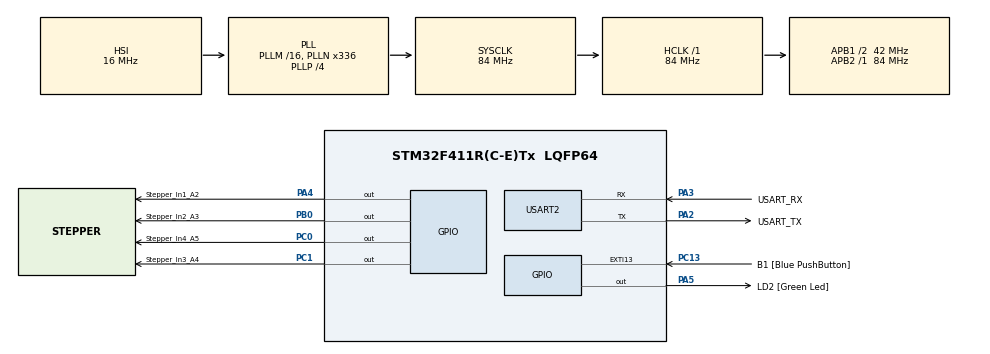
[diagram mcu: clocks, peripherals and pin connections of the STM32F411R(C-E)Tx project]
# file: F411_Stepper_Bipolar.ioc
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Mcu.Family=STM32F4
Mcu.Name=STM32F411R(C-E)Tx
Mcu.Package=LQFP64
NVIC.PriorityGroup=NVIC_PRIORITYGROUP_0
PA13.GPIO_Label=TMS
PA13.Mode=Serial_Wire
PA13.Signal=SYS_JTMS-SWDIO
PA14.GPIO_Label=TCK
PA14.Mode=Serial_Wire
PA14.Signal=SYS_JTCK-SWCLK
PA2.GPIO_Label=USART_TX
PA2.Mode=Asynchronous
PA2.Signal=USART2_TX
PA3.GPIO_Label=USART_RX
PA3.Mode=Asynchronous
PA3.Signal=USART2_RX
PA4.GPIO_Label=Stepper_In1_A2
PA4.Signal=GPIO_Output
PA5.GPIO_Label=LD2 [Green Led]
PA5.Signal=GPIO_Output
PB0.GPIO_Label=Stepper_In2_A3
PB0.Signal=GPIO_Output
PB3.GPIO_Label=SWO
PB3.Signal=SYS_JTDO-SWO
PC0.GPIO_Label=Stepper_In4_A5
PC0.Signal=GPIO_Output
PC1.GPIO_Label=Stepper_In3_A4
PC1.Signal=GPIO_Output
PC13-ANTI_TAMP.GPIO_Label=B1 [Blue PushButton]
PC13-ANTI_TAMP.GPIO_ModeDefaultEXTI=GPIO_MODE_IT_FALLING
PC13-ANTI_TAMP.Signal=GPXTI13
PC14-OSC32_IN.Mode=LSE-External-Oscillator
PC14-OSC32_IN.Signal=RCC_OSC32_IN
PC15-OSC32_OUT.Mode=LSE-External-Oscillator
PC15-OSC32_OUT.Signal=RCC_OSC32_OUT
PH0\ -\ OSC_IN.Mode=HSE-External-Clock-Source
PH0\ -\ OSC_IN.Signal=RCC_OSC_IN
PH1\ -\ OSC_OUT.Mode=HSE-External-Clock-Source
PH1\ -\ OSC_OUT.Signal=RCC_OSC_OUT
ProjectManager.HeapSize=0x200
ProjectManager.StackSize=0x400
ProjectManager.TargetToolchain=STM32CubeIDE
RCC.48MHZClocksFreq_Value=84000000
RCC.AHBFreq_Value=84000000
RCC.APB1CLKDivider=RCC_HCLK_DIV2
RCC.APB1Freq_Value=42000000
RCC.APB1TimFreq_Value=84000000
RCC.APB2Freq_Value=84000000
RCC.APB2TimFreq_Value=84000000
RCC.CortexFreq_Value=84000000
RCC.FLatency-AdvancedSettings=FLASH_LATENCY_2
RCC.HCLKFreq_Value=84000000
RCC.HSE_VALUE=8000000
RCC.HSI_VALUE=16000000
RCC.PLLN=336
RCC.PLLP=RCC_PLLP_DIV4
RCC.SYSCLKFreq_VALUE=84000000
RCC.SYSCLKSource=RCC_SYSCLKSOURCE_PLLCLK
RCC.VCOOutputFreq_Value=336000000
USART2.VirtualMode=VM_ASYNC
board=NUCLEO-F411RE

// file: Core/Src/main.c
/* USER CODE BEGIN Header */
/**
 ******************************************************************************
 * @file           : main.c
 * @brief          : Main program body
 ******************************************************************************
 * @attention
 *
 * Copyright (c) 2023 STMicroelectronics.
 * All rights reserved.
 *
 * This software is licensed under terms that can be found in the LICENSE file
 * in the root directory of this software component.
 * If no LICENSE file comes with this software, it is provided AS-IS.
 *
 ******************************************************************************
 */
/* USER CODE END Header */
#include "main.h"
#include "usart.h"
#include "gpio.h"

/* USER CODE BEGIN Includes */
//#include "Stepper.h"
#include <DRV8833_Stepper.h>
/* USER CODE END Includes */

/* USER CODE BEGIN PD */
// Change this to the number of steps on your motor
#define STEPS 200
/* USER CODE END PD */

/* USER CODE BEGIN PV */
// Create an instance of the StepperMotor struct and specify the pins it's attached to
StepperMotor stepper;
/* USER CODE END PV */

void SystemClock_Config(void);

int main(void)
{

  /* MCU Configuration--------------------------------------------------------*/

  /* Reset of all peripherals, Initializes the Flash interface and the Systick. */
  HAL_Init();

  /* Configure the system clock */
  SystemClock_Config();

  /* Initialize all configured peripherals */
  MX_GPIO_Init();
  MX_USART2_UART_Init();
  /* USER CODE BEGIN 2 */

	// Initialisation du moteur pas à pas
	StepperMotor motor;
	Stepper_Init(&motor);

	// Effectuer quelques rotations

	uint16_t stepsPerRotation_fullstep = 1024;  // Exemple, veuillez ajuster en fonction de votre moteur
	uint16_t stepsPerRotation_halfstep = stepsPerRotation_fullstep * 2;

  /* USER CODE END 2 */

  /* Infinite loop */
  /* USER CODE BEGIN WHILE */
	while (1)
	{
		Stepper_StepCW_Steps(&motor, stepsPerRotation_fullstep, 4);
		HAL_Delay(500);
		Stepper_StepCW_Half_Steps(&motor, stepsPerRotation_halfstep, 4);
		HAL_Delay(500);
		Stepper_StepCCW_Steps(&motor, stepsPerRotation_fullstep, 4);
		HAL_Delay(500);
		Stepper_StepCCW_Half_Steps(&motor, stepsPerRotation_halfstep, 4);
		HAL_Delay(500);

    /* USER CODE END WHILE */

	}
}

void SystemClock_Config(void)
{
  RCC_OscInitTypeDef RCC_OscInitStruct = {0};
  RCC_ClkInitTypeDef RCC_ClkInitStruct = {0};

  /** Configure the main internal regulator output voltage
  */
  __HAL_RCC_PWR_CLK_ENABLE();
  __HAL_PWR_VOLTAGESCALING_CONFIG(PWR_REGULATOR_VOLTAGE_SCALE1);

  /** Initializes the RCC Oscillators according to the specified parameters
  * in the RCC_OscInitTypeDef structure.
  */
  RCC_OscInitStruct.OscillatorType = RCC_OSCILLATORTYPE_HSI;
  RCC_OscInitStruct.HSIState = RCC_HSI_ON;
  RCC_OscInitStruct.HSICalibrationValue = RCC_HSICALIBRATION_DEFAULT;
  RCC_OscInitStruct.PLL.PLLState = RCC_PLL_ON;
  RCC_OscInitStruct.PLL.PLLSource = RCC_PLLSOURCE_HSI;
  RCC_OscInitStruct.PLL.PLLM = 16;
  RCC_OscInitStruct.PLL.PLLN = 336;
  RCC_OscInitStruct.PLL.PLLP = RCC_PLLP_DIV4;
  RCC_OscInitStruct.PLL.PLLQ = 4;
  if (HAL_RCC_OscConfig(&RCC_OscInitStruct) != HAL_OK)
  {
    Error_Handler();
  }

  /** Initializes the CPU, AHB and APB buses clocks
  */
  RCC_ClkInitStruct.ClockType = RCC_CLOCKTYPE_HCLK|RCC_CLOCKTYPE_SYSCLK
                              |RCC_CLOCKTYPE_PCLK1|RCC_CLOCKTYPE_PCLK2;
  RCC_ClkInitStruct.SYSCLKSource = RCC_SYSCLKSOURCE_PLLCLK;
  RCC_ClkInitStruct.AHBCLKDivider = RCC_SYSCLK_DIV1;
  RCC_ClkInitStruct.APB1CLKDivider = RCC_HCLK_DIV2;
  RCC_ClkInitStruct.APB2CLKDivider = RCC_HCLK_DIV1;

  if (HAL_RCC_ClockConfig(&RCC_ClkInitStruct, FLASH_LATENCY_2) != HAL_OK)
  {
    Error_Handler();
  }
}

void Error_Handler(void)
{
	__disable_irq();
	while (1)
	{
	}
}
